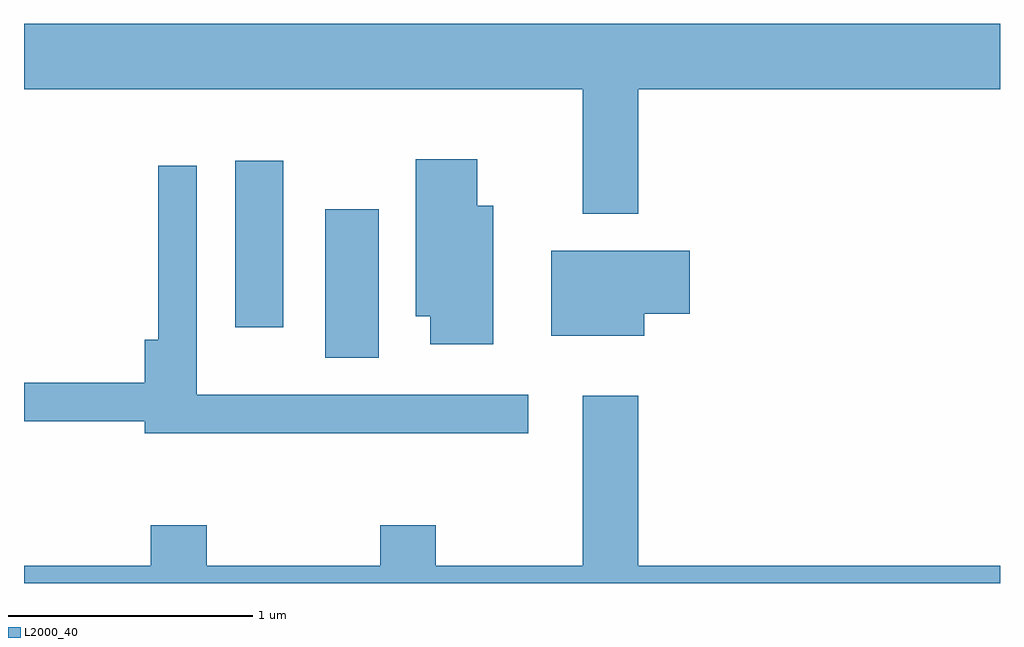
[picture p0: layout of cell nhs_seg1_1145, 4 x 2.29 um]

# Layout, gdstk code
import gdstk
lib = gdstk.Library(unit=1e-6, precision=1e-09)
def R(c, l, rs):  # rectangles x0, y0, x1, y1
    for r in rs: c.add(gdstk.rectangle(r[:2], r[2:], *l))
def P(c, l, *ps):  # polygons
    for p in ps: c.add(gdstk.Polygon(p, *l))
L2000_40 = (2000, 40)

nhs_seg1_1145 = lib.new_cell('nhs_seg1_1145')
R(nhs_seg1_1145, L2000_40, [(220.846,960.636,221.064,961.244), (220.476,960.761,220.674,961.444)])
P(nhs_seg1_1145, L2000_40, [(222.129,961.736),(223.611,961.736),(223.611,962.004),(219.611,962.004),(219.611,961.736),(221.901,961.736),(221.901,961.226),(222.129,961.226)],
  [(221.534,961.259),(221.469,961.259),(221.469,961.449),(221.216,961.449),(221.216,960.806),(221.276,960.806),(221.276,960.691),(221.534,960.691)],
  [(221.678,960.484),(220.319,960.484),(220.319,961.423),(220.161,961.423),(220.161,960.709),(220.106,960.709),(220.106,960.534),(219.611,960.534),(219.611,960.376),(220.106,960.376),(220.106,960.326),(221.678,960.326)],
  [(222.154,960.816),(222.339,960.816),(222.339,961.074),(221.771,961.074),(221.771,960.726),(222.154,960.726)],
  [(223.611,959.784),(222.129,959.784),(222.129,960.479),(221.901,960.479),(221.901,959.784),(221.299,959.784),(221.299,959.949),(221.071,959.949),(221.071,959.784),(220.359,959.784),(220.359,959.949),(220.131,959.949),(220.131,959.784),(219.611,959.784),(219.611,959.712),(223.611,959.712)])

lib.write_gds('nhs_seg1_1145.gds')
